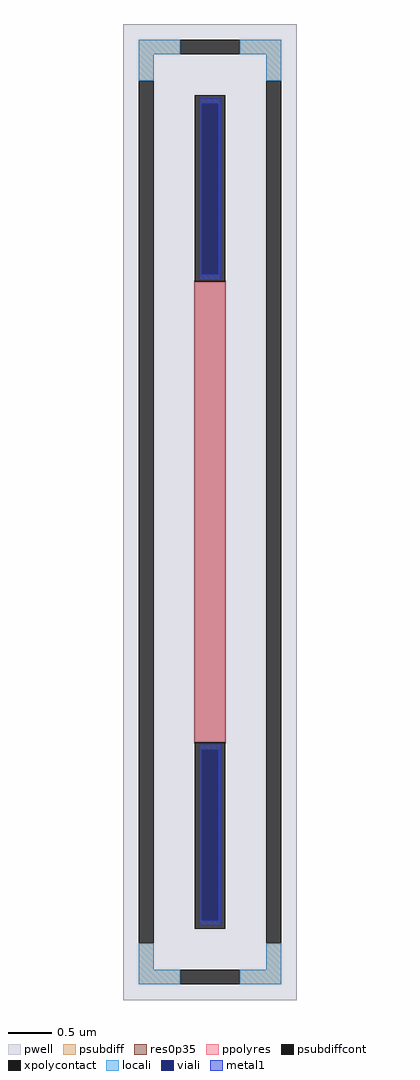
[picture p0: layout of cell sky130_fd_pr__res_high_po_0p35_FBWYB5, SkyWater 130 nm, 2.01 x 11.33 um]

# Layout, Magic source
magic
tech sky130A
magscale 1 2
<< pwell >>
rect -201 -1133 201 1133
<< psubdiff >>
rect -165 1063 -69 1097
rect 69 1063 165 1097
rect -165 1001 -131 1063
rect 131 1001 165 1063
rect -165 -1063 -131 -1001
rect 131 -1063 165 -1001
rect -165 -1097 -69 -1063
rect 69 -1097 165 -1063
<< psubdiffcont >>
rect -69 1063 69 1097
rect -165 -1001 -131 1001
rect 131 -1001 165 1001
rect -69 -1097 69 -1063
<< xpolycontact >>
rect -35 535 35 967
rect -35 -967 35 -535
<< ppolyres >>
rect -35 -535 35 535
<< locali >>
rect -165 1063 -69 1097
rect 69 1063 165 1097
rect -165 1001 -131 1063
rect 131 1001 165 1063
rect -165 -1063 -131 -1001
rect 131 -1063 165 -1001
rect -165 -1097 -69 -1063
rect 69 -1097 165 -1063
<< viali >>
rect -19 552 19 949
rect -19 -949 19 -552
<< metal1 >>
rect -25 949 25 961
rect -25 552 -19 949
rect 19 552 25 949
rect -25 540 25 552
rect -25 -552 25 -540
rect -25 -949 -19 -552
rect 19 -949 25 -552
rect -25 -961 25 -949
<< res0p35 >>
rect -37 -537 37 537
<< properties >>
string gencell sky130_fd_pr__res_high_po_0p35
string FIXED_BBOX -148 -1080 148 1080
string parameters w 0.350 l 5.35 m 1 nx 1 wmin 0.350 lmin 0.50 rho 319.8 val 4.998k dummy 0 dw 0.0 term 19.188 sterm 0.0 caplen 0 guard 1 glc 1 grc 1 gtc 1 gbc 1 compatible {sky130_fd_pr__res_high_po_0p35  sky130_fd_pr__res_high_po_0p69 sky130_fd_pr__res_high_po_1p41  sky130_fd_pr__res_high_po_2p85 sky130_fd_pr__res_high_po_5p73} full_metal 1 wmax 0.350 vias 1 viagb 0 viagt 0 viagl 0 viagr 0
string library sky130
<< end >>
